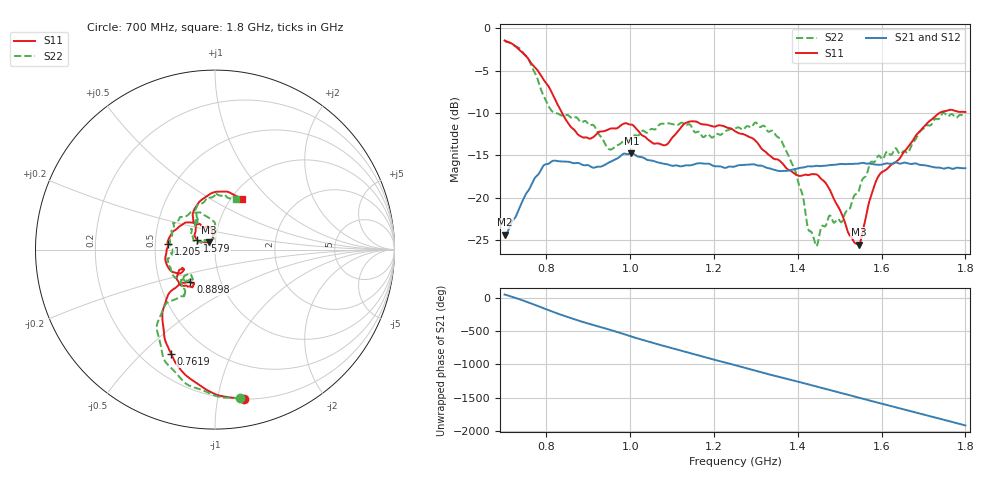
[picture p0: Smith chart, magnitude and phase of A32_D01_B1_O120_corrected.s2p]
! Created with skrf 1.9.0 (http://scikit-rf.org).
# Hz S RI R 50.0
!freq ReS11 ImS11 ReS21 ImS21 ReS12 ImS12 ReS22 ImS22
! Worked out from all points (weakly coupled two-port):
!   1601 points, 700 MHz to 1.8 GHz, reference 50 ohm
!   highest |S21| = -14.76 dB at 1.002 GHz (marker M1); lowest = -24.4 dB at 701.4 MHz (marker M2)
!   lowest |S11| = -25.5 dB at 1.545 GHz (marker M3), VSWR 1.11, Z = 46.6 + j3.85 ohm
!   |S11| at or under -10 dB: 837.5 MHz to 1.738 GHz (900.5 MHz wide, 69.9 % of centre)
!   |S22| runs from -25.7 to -1.5 dB; largest |S21 - S12| = 0.0035
!   S11 on the Smith chart (normalised r, x): 700 MHz: 0.20, -1.19; 761.9 MHz: 0.32, -0.62; 889.8 MHz: 0.72, -0.27; 1.205 GHz: 0.58, +0.04; 1.579 GHz: 0.82, +0.08; 1.8 GHz: 1.12, +0.70
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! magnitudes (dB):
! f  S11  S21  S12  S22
! 700 MHz  -1.4  -24.4  -24.2  -1.5
! 701.4 MHz  -1.5  -24.4  -24.0  -1.5
! 761.9 MHz  -4.0  -18.7  -18.7  -4.2
! 812.1 MHz  -7.5  -15.7  -15.7  -9.7
! 883.6 MHz  -12.8  -16.1  -16.0  -11.1
! 889.8 MHz  -12.9  -16.2  -16.1  -11.0
! 950.9 MHz  -11.9  -15.8  -15.8  -14.3
! 1.002 GHz  -11.4  -14.8  -14.9  -13.1
! 1.067 GHz  -13.6  -15.9  -15.8  -11.5
! 1.139 GHz  -11.1  -16.2  -16.1  -11.4
! 1.205 GHz  -11.6  -16.3  -16.3  -12.5
! 1.25 GHz  -12.2  -16.3  -16.2  -11.8
! 1.359 GHz  -15.7  -16.9  -16.8  -13.1
! 1.394 GHz  -17.2  -16.6  -16.6  -16.8
! 1.434 GHz  -17.2  -16.3  -16.3  -24.1
! 1.505 GHz  -22.0  -16.0  -16.0  -22.8
! 1.545 GHz  -25.5  -16.0  -15.9  -19.3
! 1.579 GHz  -19.1  -16.0  -16.0  -15.8
! 1.617 GHz  -16.4  -16.0  -15.9  -14.7
! 1.663 GHz  -14.1  -16.0  -16.0  -14.7
! 1.735 GHz  -10.1  -16.4  -16.5  -10.7
! 1.8 GHz  -9.9  -16.5  -16.5  -10.3
